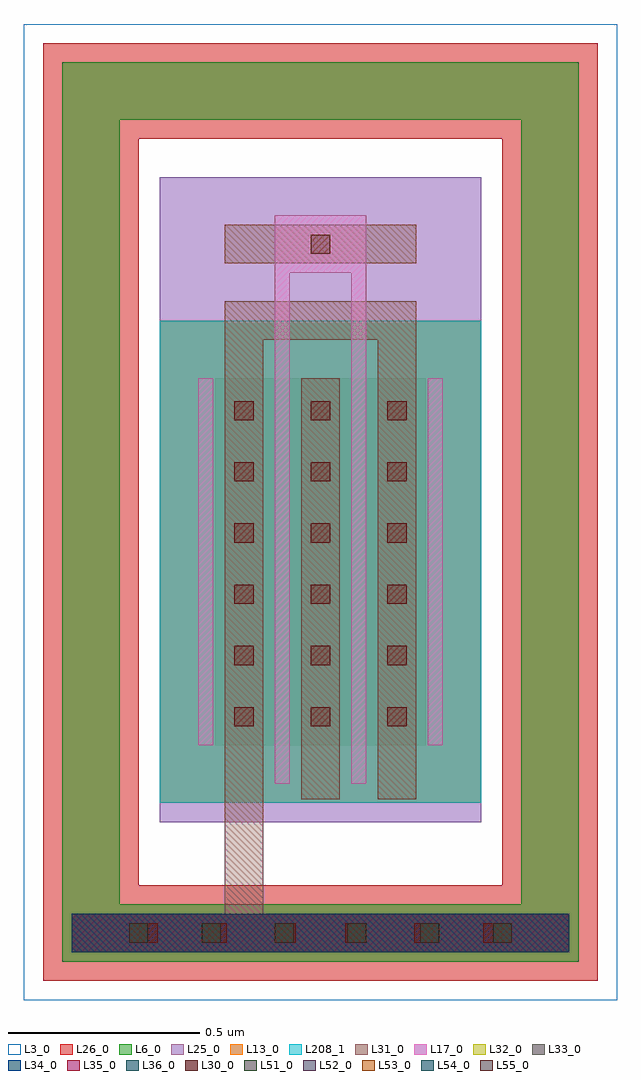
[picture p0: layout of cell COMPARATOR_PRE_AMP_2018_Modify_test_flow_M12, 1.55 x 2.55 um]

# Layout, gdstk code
import gdstk
lib = gdstk.Library(unit=1e-6, precision=1e-09)
def R(c, l, rs):  # rectangles x0, y0, x1, y1
    for r in rs: c.add(gdstk.rectangle(r[:2], r[2:], *l))
def A(c, l, x, y, w, h, nx, ny, dx, dy):  # array of equal rectangles
    R(c, l, [(x+i*dx, y+j*dy, x+i*dx+w, y+j*dy+h) for i in range(nx) for j in range(ny)])
L3_0 = (3, 0)
L6_0 = (6, 0)
L13_0 = (13, 0)
L17_0 = (17, 0)
L25_0 = (25, 0)
L26_0 = (26, 0)
L30_0 = (30, 0)
L31_0 = (31, 0)
L32_0 = (32, 0)
L33_0 = (33, 0)
L34_0 = (34, 0)
L35_0 = (35, 0)
L36_0 = (36, 0)
L51_0 = (51, 0)
L52_0 = (52, 0)
L53_0 = (53, 0)
L54_0 = (54, 0)
L55_0 = (55, 0)
L208_1 = (208, 1)

comparator_pre_amp_2018_ = lib.new_cell('COMPARATOR_PRE_AMP_2018_Modify_test_flow_M12')
R(comparator_pre_amp_2018_, L3_0, [(-0.575,-0.575,0.975,1.975), (-0.22,-0.06,0.62,1.2)])
R(comparator_pre_amp_2018_, L6_0, [(-0.475,-0.475,-0.325,-0.325), (-0.325,-0.475,0.725,-0.325), (0.725,-0.475,0.875,-0.325), (-0.475,-0.325,-0.325,1.725), (0.725,-0.325,0.875,1.725), (-0.075,0.09,0.475,1.05), (-0.475,1.725,-0.325,1.875), (-0.325,1.725,0.725,1.875), (0.725,1.725,0.875,1.875)])
R(comparator_pre_amp_2018_, L13_0, [(-0.22,-0.06,0.62,1.2)])
R(comparator_pre_amp_2018_, L17_0, [(0.08,-0.01,0.12,1.15), (0.28,-0.01,0.32,1.15), (-0.12,0.09,-0.08,1.05), (0.48,0.09,0.52,1.05), (0.08,1.05,0.12,1.35), (0.28,1.05,0.32,1.35), (0.08,1.325,0.32,1.475)])
R(comparator_pre_amp_2018_, L25_0, [(-0.22,-0.11,0.62,1.575)])
R(comparator_pre_amp_2018_, L26_0, [(-0.525,-0.525,-0.275,-0.275), (-0.325,-0.525,0.725,-0.275), (0.675,-0.525,0.925,-0.275), (-0.525,-0.325,-0.275,1.725), (0.675,-0.325,0.925,1.725), (-0.525,1.675,-0.275,1.925), (-0.325,1.675,0.725,1.925), (0.675,1.675,0.925,1.925)])
A(comparator_pre_amp_2018_, L30_0, -0.275, -0.425, 0.05, 0.05, 6, 1, 0.18, 0)
A(comparator_pre_amp_2018_, L30_0, -0.025, 0.14, 0.05, 0.05, 3, 6, 0.2, 0.16)
R(comparator_pre_amp_2018_, L30_0, [(0.175,1.375,0.225,1.425)])
A(comparator_pre_amp_2018_, L31_0, -0.05, -0.05, 0.1, 1.1, 3, 1, 0.2, 0)
A(comparator_pre_amp_2018_, L31_0, -0.05, 0.09, 0.1, 0.96, 3, 1, 0.2, 0)
R(comparator_pre_amp_2018_, L31_0, [(-0.45,-0.45,-0.35,-0.35), (-0.35,-0.45,-0.325,-0.35), (-0.325,-0.45,0.725,-0.35), (-0.05,-0.45,0.05,1.15), (0.725,-0.45,0.75,-0.35), (0.75,-0.45,0.85,-0.35), (-0.05,1.05,0.05,1.15), (0.35,1.05,0.45,1.15), (-0.05,1.15,0.45,1.25), (-0.05,1.35,0.45,1.45), (0.08,1.35,0.32,1.45)])
R(comparator_pre_amp_2018_, L32_0, [(-0.45,-0.45,-0.35,-0.35), (-0.35,-0.45,-0.325,-0.35), (-0.325,-0.45,0.725,-0.35), (0.725,-0.45,0.75,-0.35), (0.75,-0.45,0.85,-0.35)])
R(comparator_pre_amp_2018_, L33_0, [(-0.45,-0.45,-0.35,-0.35), (-0.35,-0.45,-0.325,-0.35), (-0.325,-0.45,0.725,-0.35), (0.725,-0.45,0.75,-0.35), (0.75,-0.45,0.85,-0.35)])
R(comparator_pre_amp_2018_, L34_0, [(-0.45,-0.45,-0.35,-0.35), (-0.35,-0.45,-0.325,-0.35), (-0.325,-0.45,0.725,-0.35), (0.725,-0.45,0.75,-0.35), (0.75,-0.45,0.85,-0.35)])
R(comparator_pre_amp_2018_, L35_0, [(-0.45,-0.45,-0.35,-0.35), (-0.35,-0.45,-0.325,-0.35), (-0.325,-0.45,0.725,-0.35), (0.725,-0.45,0.75,-0.35), (0.75,-0.45,0.85,-0.35)])
R(comparator_pre_amp_2018_, L36_0, [(-0.45,-0.45,-0.35,-0.35), (-0.35,-0.45,-0.325,-0.35), (-0.325,-0.45,0.725,-0.35), (0.725,-0.45,0.75,-0.35), (0.75,-0.45,0.85,-0.35)])
A(comparator_pre_amp_2018_, L51_0, -0.3, -0.425, 0.05, 0.05, 6, 1, 0.19, 0)
A(comparator_pre_amp_2018_, L52_0, -0.3, -0.425, 0.05, 0.05, 6, 1, 0.19, 0)
A(comparator_pre_amp_2018_, L53_0, -0.3, -0.425, 0.05, 0.05, 6, 1, 0.19, 0)
A(comparator_pre_amp_2018_, L54_0, -0.3, -0.425, 0.05, 0.05, 6, 1, 0.19, 0)
A(comparator_pre_amp_2018_, L55_0, -0.3, -0.425, 0.05, 0.05, 6, 1, 0.19, 0)
R(comparator_pre_amp_2018_, L208_1, [(-0.22,-0.06,0.62,1.2)])

lib.write_gds('COMPARATOR_PRE_AMP_2018_Modify_test_flow_M12.gds')
